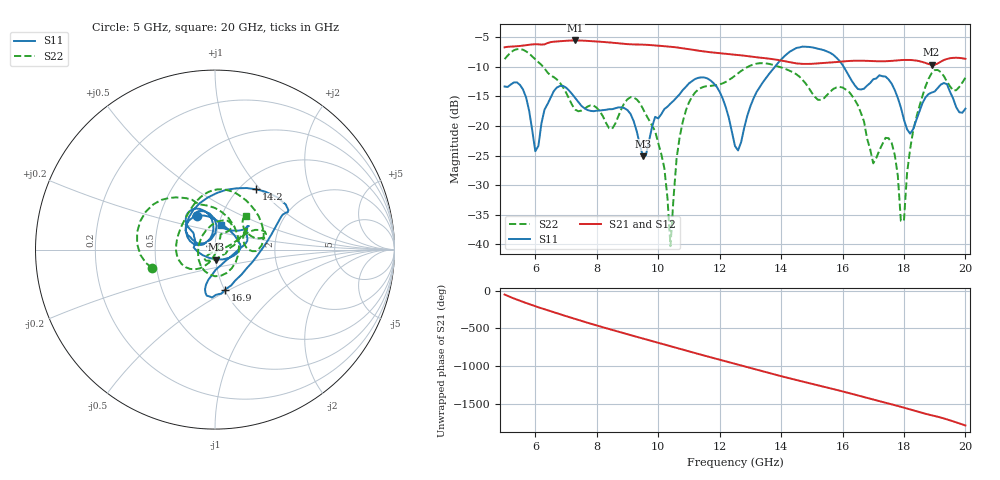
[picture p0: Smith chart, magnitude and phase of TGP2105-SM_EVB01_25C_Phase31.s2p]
! Date: Wednesday, June 05, 2013  1:51 PM
! Filename: C:\Data\Mike_Arnold\TGP2105-SM\Over_Temp\TGP2105-SM_EVB01_25C_Phase31.s2p
! Comments:
!^VDC(V):5.000
!^VDC(mA):0.142
!%Freq(GHz),S11(dB),S11(ang),S21(dB),S21(ang),S12(dB),S12(ang),S22(dB),S22(ang)
# GHz  S  DB  R  50
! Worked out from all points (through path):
!   151 points, 5 GHz to 20 GHz, reference 50 ohm
!   highest |S21| = -5.57 dB at 7.3 GHz (marker M1); lowest = -9.7 dB at 18.9 GHz (marker M2)
!   lowest |S11| = -25.1 dB at 9.5 GHz (marker M3), VSWR 1.12, Z = 50.2 - j5.56 ohm
!   |S11| at or under -10 dB: start of sweep to 13.8 GHz; 16.04 GHz to end of sweep
!   |S22| runs from -40.3 to -7.0 dB; largest |S21 - S12| = 0.0022
!   S11 on the Smith chart (normalised r, x): 5 GHz: 0.76, +0.30; 14.2 GHz: 1.18, +0.95; 16.9 GHz: 1.01, -0.47; 20 GHz: 1.03, +0.28
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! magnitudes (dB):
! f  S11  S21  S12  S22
! 5 GHz  -13.3  -6.7  -6.7  -8.7
! 5.6 GHz  -13.9  -6.4  -6.5  -7.1
! 6 GHz  -24.3  -6.2  -6.2  -8.8
! 6.6 GHz  -14.1  -5.8  -5.8  -11.8
! 7.3 GHz  -15.3  -5.6  -5.6  -17.3
! 7.5 GHz  -16.6  -5.6  -5.6  -17.4
! 9.5 GHz  -25.1  -6.3  -6.3  -17.1
! 10 GHz  -18.7  -6.4  -6.5  -22.9
! 10.4 GHz  -16.2  -6.6  -6.7  -40.3
! 10.6 GHz  -15.2  -6.7  -6.8  -25.4
! 10.9 GHz  -13.4  -7.0  -7.0  -17.4
! 11.9 GHz  -13.4  -7.7  -7.7  -13.1
! 12.5 GHz  -23.4  -8.0  -8.0  -11.5
! 14.2 GHz  -7.8  -9.2  -9.2  -10.5
! 15 GHz  -6.7  -9.5  -9.5  -14.4
! 16.2 GHz  -11.5  -9.0  -9.1  -14.2
! 16.9 GHz  -12.8  -9.0  -9.1  -23.9
! 17.5 GHz  -12.2  -9.1  -9.1  -22.1
! 18 GHz  -18.9  -8.9  -8.9  -36.0
! 18.3 GHz  -20.6  -8.9  -8.9  -20.8
! 18.9 GHz  -14.4  -9.7  -9.7  -11.1
! 20 GHz  -17.1  -8.7  -8.7  -11.9
